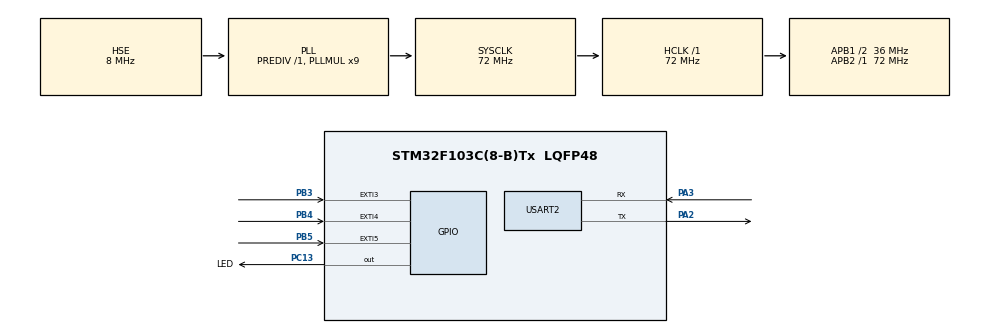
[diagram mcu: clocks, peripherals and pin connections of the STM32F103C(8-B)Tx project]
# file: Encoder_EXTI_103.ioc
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Mcu.Family=STM32F1
Mcu.Name=STM32F103C(8-B)Tx
Mcu.Package=LQFP48
NVIC.EXTI3_IRQn=true\:0\:0\:false\:false\:true\:true\:true\:true
NVIC.EXTI4_IRQn=true\:0\:0\:false\:false\:true\:true\:true\:true
NVIC.EXTI9_5_IRQn=true\:0\:0\:false\:false\:true\:true\:true\:true
NVIC.PriorityGroup=NVIC_PRIORITYGROUP_4
NVIC.TIM4_IRQn=true\:15\:0\:false\:false\:true\:false\:true\:true
NVIC.TimeBase=TIM4_IRQn
NVIC.TimeBaseIP=TIM4
PA13.Mode=Serial_Wire
PA13.Signal=SYS_JTMS-SWDIO
PA14.Mode=Serial_Wire
PA14.Signal=SYS_JTCK-SWCLK
PA2.Mode=Asynchronous
PA2.Signal=USART2_TX
PA3.Mode=Asynchronous
PA3.Signal=USART2_RX
PB3.GPIO_ModeDefaultEXTI=GPIO_MODE_IT_RISING_FALLING
PB3.Signal=GPXTI3
PB4.GPIO_ModeDefaultEXTI=GPIO_MODE_IT_RISING_FALLING
PB4.Signal=GPXTI4
PB5.GPIO_ModeDefaultEXTI=GPIO_MODE_IT_RISING_FALLING
PB5.Signal=GPXTI5
PC13-TAMPER-RTC.GPIO_Label=LED
PC13-TAMPER-RTC.PinState=GPIO_PIN_SET
PC13-TAMPER-RTC.Signal=GPIO_Output
PD0-OSC_IN.Mode=HSE-External-Oscillator
PD0-OSC_IN.Signal=RCC_OSC_IN
PD1-OSC_OUT.Mode=HSE-External-Oscillator
PD1-OSC_OUT.Signal=RCC_OSC_OUT
ProjectManager.HeapSize=0x200
ProjectManager.StackSize=0x400
ProjectManager.TargetToolchain=STM32CubeIDE
RCC.AHBFreq_Value=72000000
RCC.APB1CLKDivider=RCC_HCLK_DIV2
RCC.APB1Freq_Value=36000000
RCC.APB1TimFreq_Value=72000000
RCC.APB2Freq_Value=72000000
RCC.APB2TimFreq_Value=72000000
RCC.HCLKFreq_Value=72000000
RCC.PLLMUL=RCC_PLL_MUL9
RCC.PLLSourceVirtual=RCC_PLLSOURCE_HSE
RCC.SYSCLKFreq_VALUE=72000000
RCC.SYSCLKSource=RCC_SYSCLKSOURCE_PLLCLK
RCC.USBFreq_Value=72000000
USART2.VirtualMode=VM_ASYNC
VP_SYS_VS_tim4.Mode=TIM4
board=custom

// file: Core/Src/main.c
/* USER CODE BEGIN Header */
/**
  ******************************************************************************
  * @file           : main.c
  * @brief          : Main program body
  ******************************************************************************
  * @attention
  *
  * Copyright (c) 2023 STMicroelectronics.
  * All rights reserved.
  *
  * This software is licensed under terms that can be found in the LICENSE file
  * in the root directory of this software component.
  * If no LICENSE file comes with this software, it is provided AS-IS.
  *
  ******************************************************************************
  */
/* USER CODE END Header */
#include "main.h"

/* USER CODE BEGIN Includes */
#include <stdio.h>/* для printf */
#include <stdbool.h>
bool send_to_uart;
extern uint8_t status_old;
int16_t A;
/* USER CODE END Includes */

UART_HandleTypeDef huart2;

void SystemClock_Config(void);
static void MX_GPIO_Init(void);
static void MX_USART2_UART_Init(void);
/* USER CODE BEGIN PFP */
int _write(int file, char *ptr, int len) {
	int i;
	HAL_UART_Transmit(&huart2, (uint8_t*) ptr, len, 50);
	for (i = 0; i < len; i++) {
		ITM_SendChar(*ptr++);
	}
	return len;
}
/* USER CODE END PFP */

int main(void)
{

  /* MCU Configuration--------------------------------------------------------*/

  /* Reset of all peripherals, Initializes the Flash interface and the Systick. */
  HAL_Init();

  /* Configure the system clock */
  SystemClock_Config();

  /* Initialize all configured peripherals */
  MX_GPIO_Init();
  MX_USART2_UART_Init();
  /* USER CODE BEGIN 2 */
	if (!(GPIOB->IDR & GPIO_PIN_4) && (!(GPIOB->IDR & GPIO_PIN_5))) {
		status_old = 0x00;
	} else if ((GPIOB->IDR & GPIO_PIN_4) && (!(GPIOB->IDR & GPIO_PIN_5))) {
		status_old = 0x10;
	} else if ((GPIOB->IDR & GPIO_PIN_4) && (GPIOB->IDR & GPIO_PIN_5)) {
		status_old = 0x11;
	} else if (!(GPIOB->IDR & GPIO_PIN_4) && (GPIOB->IDR & GPIO_PIN_5)) {
		status_old = 0x01;
	}

	A = 0;
	printf("Configured A = %d\r\n",A);
  /* USER CODE END 2 */

  /* Infinite loop */
  while (1)
  {

    /* USER CODE BEGIN 3 */
		if (send_to_uart) {
			A >= 2500 ? A = 2500 : A;
			/*if (A >= 2500) {
			 A = 2500;
			 } else {
			 A = A;
			 }*/
			A <= 0 ? A = 0 : A;
			/*if (A <= 0) {
			 A = 0;
			 } else {
			 A = A;
			 }*/
			printf("A = %d\r\n",A);
			send_to_uart = 0;
		}
  }
  /* USER CODE END 3 */
}

void SystemClock_Config(void)
{
  RCC_OscInitTypeDef RCC_OscInitStruct = {0};
  RCC_ClkInitTypeDef RCC_ClkInitStruct = {0};

  /** Initializes the RCC Oscillators according to the specified parameters
  * in the RCC_OscInitTypeDef structure.
  */
  RCC_OscInitStruct.OscillatorType = RCC_OSCILLATORTYPE_HSE;
  RCC_OscInitStruct.HSEState = RCC_HSE_ON;
  RCC_OscInitStruct.HSEPredivValue = RCC_HSE_PREDIV_DIV1;
  RCC_OscInitStruct.HSIState = RCC_HSI_ON;
  RCC_OscInitStruct.PLL.PLLState = RCC_PLL_ON;
  RCC_OscInitStruct.PLL.PLLSource = RCC_PLLSOURCE_HSE;
  RCC_OscInitStruct.PLL.PLLMUL = RCC_PLL_MUL9;
  if (HAL_RCC_OscConfig(&RCC_OscInitStruct) != HAL_OK)
  {
    Error_Handler();
  }

  /** Initializes the CPU, AHB and APB buses clocks
  */
  RCC_ClkInitStruct.ClockType = RCC_CLOCKTYPE_HCLK|RCC_CLOCKTYPE_SYSCLK
                              |RCC_CLOCKTYPE_PCLK1|RCC_CLOCKTYPE_PCLK2;
  RCC_ClkInitStruct.SYSCLKSource = RCC_SYSCLKSOURCE_PLLCLK;
  RCC_ClkInitStruct.AHBCLKDivider = RCC_SYSCLK_DIV1;
  RCC_ClkInitStruct.APB1CLKDivider = RCC_HCLK_DIV2;
  RCC_ClkInitStruct.APB2CLKDivider = RCC_HCLK_DIV1;

  if (HAL_RCC_ClockConfig(&RCC_ClkInitStruct, FLASH_LATENCY_2) != HAL_OK)
  {
    Error_Handler();
  }
}

static void MX_USART2_UART_Init(void)
{

  huart2.Instance = USART2;
  huart2.Init.BaudRate = 115200;
  huart2.Init.WordLength = UART_WORDLENGTH_8B;
  huart2.Init.StopBits = UART_STOPBITS_1;
  huart2.Init.Parity = UART_PARITY_NONE;
  huart2.Init.Mode = UART_MODE_TX_RX;
  huart2.Init.HwFlowCtl = UART_HWCONTROL_NONE;
  huart2.Init.OverSampling = UART_OVERSAMPLING_16;
  if (HAL_UART_Init(&huart2) != HAL_OK)
  {
    Error_Handler();
  }

}

static void MX_GPIO_Init(void)
{
  GPIO_InitTypeDef GPIO_InitStruct = {0};

  /* GPIO Ports Clock Enable */
  __HAL_RCC_GPIOC_CLK_ENABLE();
  __HAL_RCC_GPIOD_CLK_ENABLE();
  __HAL_RCC_GPIOA_CLK_ENABLE();
  __HAL_RCC_GPIOB_CLK_ENABLE();

  /*Configure GPIO pin Output Level */
  HAL_GPIO_WritePin(LED_GPIO_Port, LED_Pin, GPIO_PIN_SET);

  /*Configure GPIO pin : LED_Pin */
  GPIO_InitStruct.Pin = LED_Pin;
  GPIO_InitStruct.Mode = GPIO_MODE_OUTPUT_PP;
  GPIO_InitStruct.Pull = GPIO_NOPULL;
  GPIO_InitStruct.Speed = GPIO_SPEED_FREQ_LOW;
  HAL_GPIO_Init(LED_GPIO_Port, &GPIO_InitStruct);

  /*Configure GPIO pins : PB3 PB4 PB5 */
  GPIO_InitStruct.Pin = GPIO_PIN_3|GPIO_PIN_4|GPIO_PIN_5;
  GPIO_InitStruct.Mode = GPIO_MODE_IT_RISING_FALLING;
  GPIO_InitStruct.Pull = GPIO_NOPULL;
  HAL_GPIO_Init(GPIOB, &GPIO_InitStruct);

  /* EXTI interrupt init*/
  HAL_NVIC_SetPriority(EXTI3_IRQn, 0, 0);
  HAL_NVIC_EnableIRQ(EXTI3_IRQn);

  HAL_NVIC_SetPriority(EXTI4_IRQn, 0, 0);
  HAL_NVIC_EnableIRQ(EXTI4_IRQn);

  HAL_NVIC_SetPriority(EXTI9_5_IRQn, 0, 0);
  HAL_NVIC_EnableIRQ(EXTI9_5_IRQn);

}

void HAL_TIM_PeriodElapsedCallback(TIM_HandleTypeDef *htim)
{
  if (htim->Instance == TIM4) {
    HAL_IncTick();
  }
}

void Error_Handler(void)
{
  __disable_irq();
  while (1)
  {
  }
}
